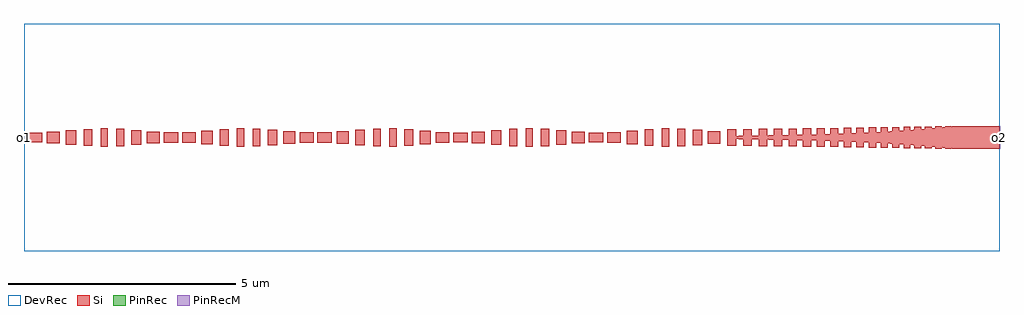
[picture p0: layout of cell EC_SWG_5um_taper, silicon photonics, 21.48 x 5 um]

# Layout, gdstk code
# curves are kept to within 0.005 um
import gdstk
lib = gdstk.Library(unit=1e-6, precision=1e-09)
def R(c, l, rs):  # rectangles x0, y0, x1, y1
    for r in rs: c.add(gdstk.rectangle(r[:2], r[2:], *l))
def P(c, l, *ps):  # polygons
    for p in ps: c.add(gdstk.Polygon(p, *l))
Si = (1, 0)
PinRec = (1, 10)
PinRecM = (1, 11)
DevRec = (68, 0)

nonlinear_taper = lib.new_cell('Nonlinear_Taper')
P(nonlinear_taper, Si, [(5,-0.25),(4.04,-0.164),(2.879,-0.098),(1.768,-0.062),(0,-0.03),(0,0.03),(1.768,0.062),(2.879,0.098),(4.04,0.164),(5,0.25)])

rectangle_s1_0p5_lwg_cf_ = lib.new_cell('rectangle_S1_0p5_LWG_CF_2a77620c')
R(rectangle_s1_0p5_lwg_cf_, Si, [(0,0,1,0.5)])

ec_swg_5um_taper = lib.new_cell('EC_SWG_5um_taper')
R(ec_swg_5um_taper, Si, [(20.03,-0.246,20.168,0.246), (19.813,-0.243,19.954,0.243), (19.588,-0.239,19.734,0.239), (19.356,-0.236,19.505,0.236), (19.116,-0.232,19.269,0.232), (18.868,-0.229,19.025,0.229), (18.613,-0.225,18.773,0.225), (18.349,-0.221,18.513,0.221), (18.076,-0.217,18.244,0.217), (17.796,-0.213,17.967,0.213), (17.506,-0.209,17.681,0.209), (17.208,-0.205,17.387,0.205), (16.902,-0.201,17.083,0.201), (1.443,-0.2,1.604,0.2), (10.795,-0.2,10.956,0.2), (4.442,-0.199,4.605,0.199), (7.793,-0.199,7.956,0.199), (13.794,-0.199,13.956,0.199), (16.586,-0.197,16.771,0.197), (4.79,-0.195,4.958,0.195), (7.438,-0.195,7.606,0.195), (14.14,-0.193,14.312,0.193), (16.262,-0.193,16.45,0.193), (1.786,-0.191,1.962,0.191), (10.432,-0.19,10.608,0.19), (11.135,-0.188,11.316,0.188), (15.928,-0.188,16.12,0.188), (1.075,-0.187,1.257,0.187), (13.423,-0.184,13.61,0.184), (15.586,-0.184,15.78,0.184), (8.129,-0.181,8.322,0.181), (4.065,-0.18,4.259,0.18), (15.235,-0.18,15.432,0.18), (5.124,-0.173,5.33,0.173), (7.052,-0.171,7.26,0.171), (14.473,-0.168,14.686,0.168), (2.118,-0.164,2.339,0.164), (10.036,-0.162,10.261,0.162), (11.468,-0.159,11.697,0.159), (0.675,-0.157,0.909,0.157), (13.019,-0.152,13.261,0.152), (8.463,-0.149,8.709,0.149), (3.657,-0.147,3.908,0.147), (5.46,-0.14,5.723,0.14), (6.637,-0.137,6.906,0.137), (14.811,-0.135,15.083,0.135), (2.459,-0.131,2.739,0.131), (9.616,-0.128,9.901,0.128), (11.811,-0.127,12.099,0.127), (0.253,-0.124,0.547,0.124), (12.596,-0.121,12.895,0.121), (8.814,-0.12,9.115,0.12), (3.234,-0.117,3.539,0.117), (5.82,-0.115,6.131,0.115), (6.215,-0.113,6.53,0.113), (2.828,-0.111,3.146,0.111), (-0.16,-0.11,0.16,0.11), (9.199,-0.11,9.519,0.11), (12.186,-0.11,12.505,0.11)])
R(ec_swg_5um_taper, DevRec, [(-0.24,-2.5,21.235,2.5)])
ec_swg_5um_taper.add(gdstk.FlexPath([(-0.235,0),(-0.245,0)], 0.22, ends="flush", simple_path=True, layer=1, datatype=10))  # PinRec
ec_swg_5um_taper.add(gdstk.FlexPath([(21.23,0),(21.24,0)], 0.5, ends="flush", simple_path=True, layer=1, datatype=10))  # PinRec
ec_swg_5um_taper.add(gdstk.FlexPath([(-0.235,0),(-0.245,0)], 0.22, ends="flush", simple_path=True, layer=1, datatype=11))  # PinRecM
ec_swg_5um_taper.add(gdstk.FlexPath([(21.23,0),(21.24,0)], 0.5, ends="flush", simple_path=True, layer=1, datatype=11))  # PinRecM
ec_swg_5um_taper.add(gdstk.Reference(nonlinear_taper, (15.235,0)))
ec_swg_5um_taper.add(gdstk.Reference(rectangle_s1_0p5_lwg_cf_, (20.235,-0.25)))
ec_swg_5um_taper.add(gdstk.Label('o1', (-0.24,0), layer=1, texttype=10))
ec_swg_5um_taper.add(gdstk.Label('o2', (21.235,0), layer=1, texttype=10))
ec_swg_5um_taper.add(gdstk.Label('o1', (-0.24,0), layer=1, texttype=11))
ec_swg_5um_taper.add(gdstk.Label('o2', (21.235,0), layer=1, texttype=11))

lib.write_gds('EC_SWG_5um_taper.gds')
